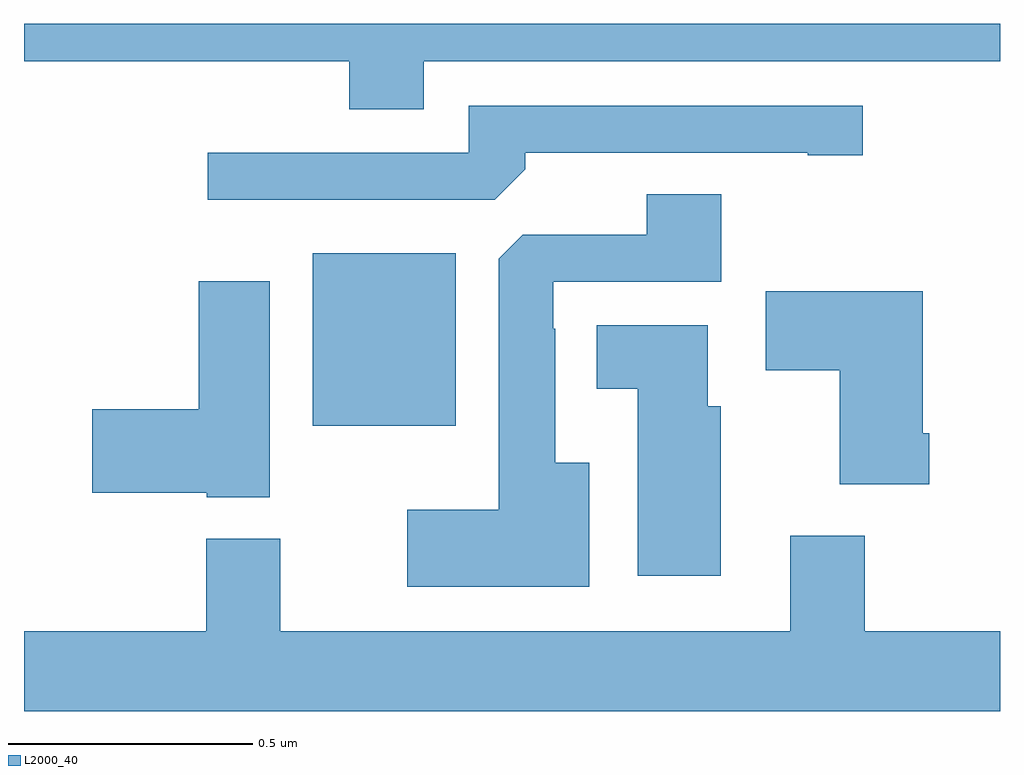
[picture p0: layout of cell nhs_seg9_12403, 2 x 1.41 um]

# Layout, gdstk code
import gdstk
lib = gdstk.Library(unit=1e-6, precision=1e-09)
def R(c, l, rs):  # rectangles x0, y0, x1, y1
    for r in rs: c.add(gdstk.rectangle(r[:2], r[2:], *l))
def P(c, l, *ps):  # polygons
    for p in ps: c.add(gdstk.Polygon(p, *l))
L2000_40 = (2000, 40)

nhs_seg9_12403 = lib.new_cell('nhs_seg9_12403')
R(nhs_seg9_12403, L2000_40, [(268.592,1191.677,268.885,1192.03)])
P(nhs_seg9_12403, L2000_40, [(268.819,1192.424),(270,1192.424),(270,1192.5),(268,1192.5),(268,1192.424),(268.667,1192.424),(268.667,1192.325),(268.819,1192.325)],
  [(269.027,1192.202),(269.027,1192.236),(269.606,1192.236),(269.606,1192.231),(269.719,1192.231),(269.719,1192.332),(268.911,1192.332),(268.911,1192.236),(268.377,1192.236),(268.377,1192.14),(268.965,1192.14)],
  [(269.158,1191.601),(269.089,1191.601),(269.089,1191.875),(269.085,1191.875),(269.085,1191.972),(269.429,1191.972),(269.429,1192.151),(269.276,1192.151),(269.276,1192.068),(269.022,1192.068),(268.973,1192.019),(268.973,1191.505),(268.785,1191.505),(268.785,1191.347),(269.158,1191.347)],
  [(268.504,1191.973),(268.358,1191.973),(268.358,1191.71),(268.14,1191.71),(268.14,1191.539),(268.374,1191.539),(268.374,1191.53),(268.504,1191.53)],
  [(269.855,1191.661),(269.842,1191.661),(269.842,1191.952),(269.52,1191.952),(269.52,1191.79),(269.672,1191.79),(269.672,1191.557),(269.855,1191.557)],
  [(269.428,1191.717),(269.401,1191.717),(269.401,1191.883),(269.174,1191.883),(269.174,1191.752),(269.258,1191.752),(269.258,1191.369),(269.428,1191.369)],
  [(270,1191.256),(269.723,1191.256),(269.723,1191.451),(269.57,1191.451),(269.57,1191.256),(268.525,1191.256),(268.525,1191.445),(268.373,1191.445),(268.373,1191.256),(268,1191.256),(268,1191.092),(270,1191.092)])

lib.write_gds('nhs_seg9_12403.gds')
